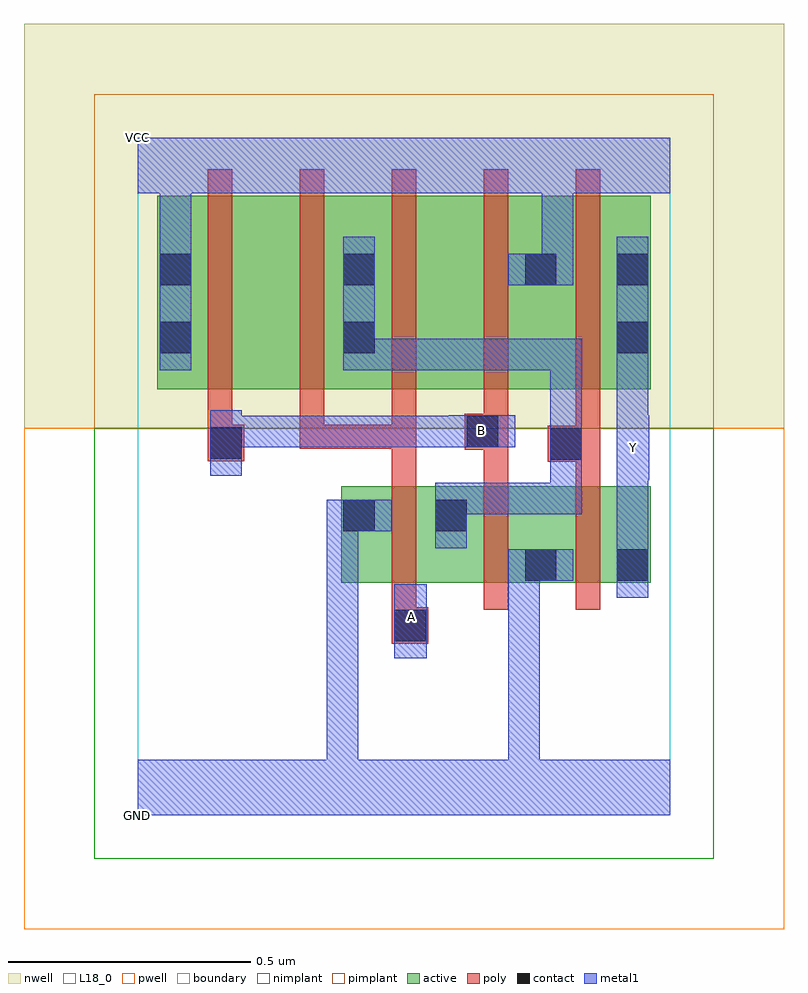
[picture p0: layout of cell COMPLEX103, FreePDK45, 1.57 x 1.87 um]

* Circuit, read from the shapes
.subckt COMPLEX103 A B GND VCC Y
M1 n1 A GND VSUBS nfet w=0.2u l=0.05u
M2 GND B n1 VSUBS nfet w=0.2u l=0.05u
M3 Y n1 GND VSUBS nfet w=0.2u l=0.05u
M4 n2 B VCC n3 pfet w=0.4u l=0.05u
M5 n1 A n2 n3 pfet w=0.4u l=0.05u
M6 n4 A n1 n3 pfet w=0.4u l=0.05u
M7 VCC B n4 n3 pfet w=0.4u l=0.05u
M8 Y n1 VCC n3 pfet w=0.4u l=0.05u
.ends

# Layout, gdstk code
import gdstk
lib = gdstk.Library(unit=1e-6, precision=1e-09)
def R(c, l, rs):  # rectangles x0, y0, x1, y1
    for r in rs: c.add(gdstk.rectangle(r[:2], r[2:], *l))
def A(c, l, x, y, w, h, nx, ny, dx, dy):  # array of equal rectangles
    R(c, l, [(x+i*dx, y+j*dy, x+i*dx+w, y+j*dy+h) for i in range(nx) for j in range(ny)])
active = (1, 0)
pwell = (2, 0)
nwell = (3, 0)
nimplant = (4, 0)
pimplant = (5, 0)
poly = (9, 0)
contact = (10, 0)
metal1 = (11, 0)
L18_0 = (18, 0)
boundary = (235, 0)

complex103 = lib.new_cell('COMPLEX103')
R(complex103, active, [(0.42,0.48,0.495,0.68), (0.42,0.48,0.685,0.68), (0.61,0.48,0.87,0.68), (0.61,0.48,0.685,0.657), (0.795,0.48,1.06,0.68), (0.795,0.48,0.87,0.597), (0.985,0.48,1.06,0.68), (0.04,0.88,0.265,1.28), (0.04,0.88,0.115,1.255), (0.265,0.88,0.495,1.28), (0.42,0.88,0.645,1.28), (0.645,0.88,0.87,1.28), (0.795,0.88,1.06,1.28), (0.985,0.88,1.06,1.2), (0.42,0.907,0.495,1.2), (0.795,0.907,0.87,1.255)])
R(complex103, pwell, [(-0.235,-0.235,1.335,0.8)])
R(complex103, nwell, [(-0.235,0.8,1.335,1.635)])
R(complex103, nimplant, [(-0.09,-0.09,1.19,0.8)])
R(complex103, pimplant, [(-0.09,0.8,1.19,1.49)])
A(complex103, poly, 0.525, 0.425, 0.05, 0.31, 3, 1, 0.19, 0)
A(complex103, poly, 0.145, 0.757, 0.05, 0.118, 3, 1, 0.19, 0)
A(complex103, poly, 0.145, 0.825, 0.05, 0.51, 5, 1, 0.19, 0)
R(complex103, poly, [(0.525,0.355,0.6,0.43), (0.525,0.38,0.575,0.475), (0.525,0.685,0.575,0.807), (0.715,0.685,0.765,0.805), (0.905,0.685,0.955,0.78), (0.847,0.73,0.955,0.805), (0.145,0.732,0.22,0.807), (0.675,0.755,0.765,0.83), (0.905,0.755,0.955,0.875), (0.335,0.757,0.575,0.807), (0.335,0.757,0.385,0.807), (0.335,0.757,0.385,0.807), (0.335,0.757,0.385,0.807), (0.525,0.757,0.575,0.807), (0.715,0.78,0.765,0.875)])
R(complex103, contact, [(0.53,0.36,0.595,0.425), (0.8,0.485,0.865,0.55), (0.99,0.485,1.055,0.55), (0.425,0.587,0.49,0.652), (0.615,0.587,0.68,0.652), (0.852,0.735,0.917,0.8), (0.15,0.737,0.215,0.802), (0.68,0.76,0.745,0.825), (0.045,0.955,0.11,1.02), (0.425,0.955,0.49,1.02), (0.99,0.955,1.055,1.02), (0.045,1.095,0.11,1.16), (0.425,1.095,0.49,1.16), (0.8,1.095,0.865,1.16), (0.99,1.095,1.055,1.16)])
R(complex103, metal1, [(0,0,1.1,0.115), (0.39,0.05,0.455,0.115), (0.39,0.05,0.455,0.115), (0.39,0.05,0.455,0.272), (0.765,0.05,0.83,0.115), (0.765,0.05,0.83,0.115), (0.765,0.05,0.83,0.115), (0.765,0.05,0.83,0.115), (0.765,0.05,0.83,0.527), (0.39,0.207,0.455,0.272), (0.39,0.207,0.455,0.272), (0.39,0.207,0.455,0.272), (0.39,0.207,0.455,0.55), (0.53,0.325,0.597,0.477), (0.99,0.45,1.055,0.585), (0.765,0.462,0.83,0.527), (0.765,0.462,0.83,0.527), (0.765,0.462,0.83,0.527), (0.765,0.462,0.83,0.55), (0.39,0.485,0.455,0.55), (0.39,0.485,0.455,0.652), (0.765,0.485,0.9,0.55), (0.99,0.52,1.055,0.757), (0.615,0.552,0.68,0.687), (0.39,0.587,0.525,0.652), (0.615,0.622,0.68,0.687), (0.615,0.622,0.68,0.687), (0.615,0.622,0.917,0.687), (0.852,0.622,0.917,0.687), (0.852,0.622,0.917,0.765), (0.99,0.692,1.057,0.827), (0.852,0.7,0.917,0.835), (0.852,0.7,0.917,0.765), (0.852,0.7,0.917,0.765), (0.852,0.7,0.917,0.985), (0.15,0.702,0.215,0.837), (0.15,0.76,0.29,0.825), (0.225,0.76,0.29,0.825), (0.225,0.76,0.37,0.825), (0.305,0.76,0.37,0.825), (0.305,0.76,0.427,0.825), (0.362,0.76,0.427,0.825), (0.362,0.76,0.507,0.825), (0.442,0.76,0.507,0.825), (0.442,0.76,0.692,0.825), (0.627,0.76,0.692,0.825), (0.627,0.76,0.707,0.825), (0.642,0.76,0.78,0.827), (0.99,0.762,1.055,0.985), (0.045,0.92,0.11,1.195), (0.425,0.92,0.49,1.195), (0.425,0.92,0.507,0.985), (0.442,0.92,0.507,0.985), (0.442,0.92,0.692,0.985), (0.627,0.92,0.692,0.985), (0.627,0.92,0.692,0.985), (0.627,0.92,0.692,0.985), (0.627,0.92,0.917,0.985), (0.852,0.92,0.917,0.985), (0.99,0.92,1.055,1.195), (0.765,1.095,0.9,1.16), (0.835,1.095,0.9,1.35), (0.045,1.13,0.11,1.35), (0,1.285,1.1,1.4)])
R(complex103, L18_0, [(0,0,1.1,0.115), (0.39,0.05,0.455,0.115), (0.39,0.05,0.455,0.115), (0.39,0.05,0.455,0.272), (0.765,0.05,0.83,0.115), (0.765,0.05,0.83,0.115), (0.765,0.05,0.83,0.115), (0.765,0.05,0.83,0.115), (0.765,0.05,0.83,0.527), (0.39,0.207,0.455,0.272), (0.39,0.207,0.455,0.272), (0.39,0.207,0.455,0.272), (0.39,0.207,0.455,0.55), (0.53,0.325,0.597,0.477), (0.532,0.377,0.597,0.442), (0.99,0.45,1.055,0.585), (0.765,0.462,0.83,0.527), (0.765,0.462,0.83,0.527), (0.765,0.462,0.83,0.527), (0.765,0.462,0.83,0.55), (0.39,0.485,0.455,0.55), (0.39,0.485,0.455,0.652), (0.765,0.485,0.9,0.55), (0.99,0.52,1.055,0.757), (0.39,0.587,0.525,0.652), (0.99,0.692,1.057,0.827), (0.15,0.702,0.215,0.837), (0.992,0.727,1.057,0.792), (0.15,0.76,0.29,0.825), (0.225,0.76,0.29,0.825), (0.225,0.76,0.37,0.825), (0.305,0.76,0.37,0.825), (0.305,0.76,0.427,0.825), (0.362,0.76,0.427,0.825), (0.362,0.76,0.507,0.825), (0.442,0.76,0.507,0.825), (0.442,0.76,0.692,0.825), (0.627,0.76,0.692,0.825), (0.627,0.76,0.707,0.825), (0.642,0.76,0.78,0.827), (0.677,0.762,0.742,0.827), (0.99,0.762,1.055,0.985), (0.045,0.92,0.11,1.195), (0.99,0.92,1.055,1.195), (0.765,1.095,0.9,1.16), (0.835,1.095,0.9,1.35), (0.045,1.13,0.11,1.35), (0,1.285,1.1,1.4)])
R(complex103, boundary, [(0,0,1.1,1.4)])
complex103.add(gdstk.Label('A', (0.565,0.41), layer=11, texttype=0))
complex103.add(gdstk.Label('B', (0.71,0.795), layer=11, texttype=0))
complex103.add(gdstk.Label('Y', (1.025,0.76), layer=11, texttype=0))
complex103.add(gdstk.Label('VCC', (0,1.4), layer=11, texttype=0))
complex103.add(gdstk.Label('GND', (0,0), layer=11, texttype=0))

lib.write_gds('COMPLEX103.gds')
